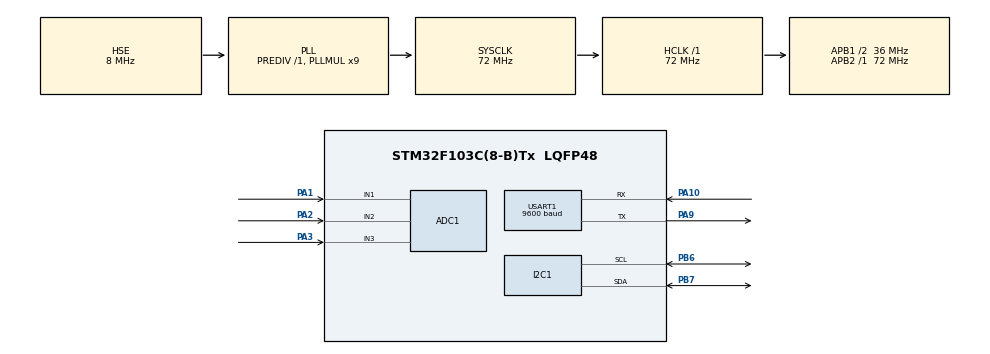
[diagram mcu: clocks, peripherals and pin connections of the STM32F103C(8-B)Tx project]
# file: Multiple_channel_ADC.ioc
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ADC1.Channel-0\#ChannelRegularConversion=ADC_CHANNEL_1
ADC1.Channel-1\#ChannelRegularConversion=ADC_CHANNEL_2
ADC1.Channel-2\#ChannelRegularConversion=ADC_CHANNEL_3
ADC1.ContinuousConvMode=ENABLE
ADC1.NbrOfConversion=3
ADC1.NbrOfConversionFlag=1
ADC1.Rank-0\#ChannelRegularConversion=1
ADC1.Rank-1\#ChannelRegularConversion=2
ADC1.Rank-2\#ChannelRegularConversion=3
ADC1.SamplingTime-0\#ChannelRegularConversion=ADC_SAMPLETIME_1CYCLE_5
ADC1.SamplingTime-1\#ChannelRegularConversion=ADC_SAMPLETIME_1CYCLE_5
ADC1.SamplingTime-2\#ChannelRegularConversion=ADC_SAMPLETIME_1CYCLE_5
ADC1.master=1
Dma.ADC1.0.Direction=DMA_PERIPH_TO_MEMORY
Dma.ADC1.0.Instance=DMA1_Channel1
Dma.ADC1.0.MemDataAlignment=DMA_MDATAALIGN_HALFWORD
Dma.ADC1.0.MemInc=DMA_MINC_ENABLE
Dma.ADC1.0.Mode=DMA_CIRCULAR
Dma.ADC1.0.PeriphDataAlignment=DMA_PDATAALIGN_HALFWORD
Dma.ADC1.0.PeriphInc=DMA_PINC_DISABLE
Dma.ADC1.0.Priority=DMA_PRIORITY_LOW
Dma.Request0=ADC1
I2C1.I2C_Mode=I2C_Fast
Mcu.Family=STM32F1
Mcu.Name=STM32F103C(8-B)Tx
Mcu.Package=LQFP48
NVIC.ADC1_2_IRQn=true\:0\:0\:false\:false\:true\:true\:true\:true
NVIC.DMA1_Channel1_IRQn=true\:0\:0\:false\:false\:true\:false\:true\:true
NVIC.PriorityGroup=NVIC_PRIORITYGROUP_4
NVIC.USART1_IRQn=true\:0\:0\:false\:false\:true\:true\:true\:true
PA1.Signal=ADCx_IN1
PA10.Mode=Asynchronous
PA10.Signal=USART1_RX
PA13.Mode=Serial_Wire
PA13.Signal=SYS_JTMS-SWDIO
PA14.Mode=Serial_Wire
PA14.Signal=SYS_JTCK-SWCLK
PA2.Signal=ADCx_IN2
PA3.Signal=ADCx_IN3
PA9.Mode=Asynchronous
PA9.Signal=USART1_TX
PB6.Mode=I2C
PB6.Signal=I2C1_SCL
PB7.Mode=I2C
PB7.Signal=I2C1_SDA
PD0-OSC_IN.Mode=HSE-External-Oscillator
PD0-OSC_IN.Signal=RCC_OSC_IN
PD1-OSC_OUT.Mode=HSE-External-Oscillator
PD1-OSC_OUT.Signal=RCC_OSC_OUT
ProjectManager.HeapSize=0x200
ProjectManager.StackSize=0x400
ProjectManager.TargetToolchain=STM32CubeIDE
RCC.ADCPresc=RCC_ADCPCLK2_DIV6
RCC.AHBFreq_Value=72000000
RCC.APB1CLKDivider=RCC_HCLK_DIV2
RCC.APB1Freq_Value=36000000
RCC.APB1TimFreq_Value=72000000
RCC.APB2Freq_Value=72000000
RCC.APB2TimFreq_Value=72000000
RCC.HCLKFreq_Value=72000000
RCC.PLLMUL=RCC_PLL_MUL9
RCC.PLLSourceVirtual=RCC_PLLSOURCE_HSE
RCC.SYSCLKFreq_VALUE=72000000
RCC.SYSCLKSource=RCC_SYSCLKSOURCE_PLLCLK
RCC.USBFreq_Value=72000000
SH.ADCx_IN1.0=ADC1_IN1,IN1
SH.ADCx_IN2.0=ADC1_IN2,IN2
SH.ADCx_IN3.0=ADC1_IN3,IN3
USART1.BaudRate=9600
USART1.VirtualMode=VM_ASYNC
board=custom

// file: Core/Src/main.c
/* USER CODE BEGIN Header */
/**
  ******************************************************************************
  * @file           : main.c
  * @brief          : Main program body
  ******************************************************************************
  * @attention
  *
  * Copyright (c) 2024 STMicroelectronics.
  * All rights reserved.
  *
  * This software is licensed under terms that can be found in the LICENSE file
  * in the root directory of this software component.
  * If no LICENSE file comes with this software, it is provided AS-IS.
  *
  ******************************************************************************
  */
/* USER CODE END Header */
#include "main.h"
#include <stdio.h>
/* USER CODE BEGIN Includes */
#include "ssd1306.h"
#include "fonts.h"
/* USER CODE END Includes */

ADC_HandleTypeDef hadc1;
DMA_HandleTypeDef hdma_adc1;

I2C_HandleTypeDef hi2c1;

UART_HandleTypeDef huart1;

/* USER CODE BEGIN PV */
uint16_t readvalue[3];
uint8_t VI,VD;
uint8_t CI,CD;
uint8_t TI,TD;
uint8_t PI,PD;
uint8_t rxdata;
char strCopy[20];
char strCurr[20];
char strTemp[20];
char powCopy[20];
double voltage;
double power = 0.0;
double sensitivity= 0.033;
double raw_current = 0.0;
double midvolt = 2.5;
double current = 0.0;
float R5 = 10000;
float logR6, R6, T;
float c1 = 0.001129148, c2 = 0.000234125, c3 = 0.0000000876741;

/* USER CODE END PV */

void SystemClock_Config(void);
static void MX_GPIO_Init(void);
static void MX_DMA_Init(void);
static void MX_ADC1_Init(void);
static void MX_I2C1_Init(void);
static void MX_USART1_UART_Init(void);

/* USER CODE BEGIN 0 */
void HAL_UART_RxCpltCallback(UART_HandleTypeDef *huart)
{
  if(huart->Instance==USART1)
  {
    HAL_UART_Receive_IT(&huart1,&rxdata,1); // Enabling interrupt receive again
  }
}

/* USER CODE END 0 */

int main(void)
{

  /* MCU Configuration--------------------------------------------------------*/

  /* Reset of all peripherals, Initializes the Flash interface and the Systick. */
	HAL_Init();

  /* Configure the system clock */
  SystemClock_Config();

  /* Initialize all configured peripherals */
  MX_GPIO_Init();
  MX_DMA_Init();
  MX_ADC1_Init();
  MX_I2C1_Init();
  MX_USART1_UART_Init();
  /* USER CODE BEGIN 2 */
SSD1306_Init();
HAL_ADC_Start_DMA(&hadc1, (uint32_t*)readvalue,3);
HAL_UART_Receive_IT(&huart1, &rxdata, 1);
SSD1306_GotoXY(40,8);
SSD1306_Puts("DATA",&Font_11x18,1);
SSD1306_GotoXY(25,40);
SSD1306_Puts("MONITOR",&Font_11x18,1);
SSD1306_UpdateScreen();
HAL_Delay(5000);
SSD1306_Clear();

  /* USER CODE END 2 */

  /* Infinite loop */
  /* USER CODE BEGIN WHILE */
  while (1)
  {
	  if(rxdata == 78){
	  VI = (int)voltage;
	  float fractionalPart= voltage - VI;
	  VD = (fractionalPart*100);
	  sprintf(strCopy,"%d.%02d" ,VI,VD);
	  SSD1306_GotoXY(0,0);
	  SSD1306_Puts("Voltage:-",&Font_7x10,1);
	  SSD1306_GotoXY(77,0);
	  SSD1306_Puts(strCopy,&Font_7x10,1);

	  TI= (int)T;
	  float FractionPart =  T - TI;
	  TD = (FractionPart*10);
	  sprintf(strTemp,"%d.%02d",TI,TD);
	  SSD1306_GotoXY(0,20);
	  SSD1306_Puts("Temp:-",&Font_7x10,1);
	  SSD1306_GotoXY(77,20);
	  SSD1306_Puts(strTemp,&Font_7x10,1);

	  SSD1306_UpdateScreen();
	  CI= (int)current;
	  float FractialPart =  current - CI;
	  CD = (FractialPart*100);
	  sprintf(strCurr,"%d.%02d C",CI,CD);
	  SSD1306_GotoXY(0,40);
	  SSD1306_Puts("Curr:-",&Font_7x10,1);
	  SSD1306_GotoXY(77,40);
	  SSD1306_Puts(strCurr,&Font_7x10,1);
	  SSD1306_UpdateScreen();
	  }
	  if(rxdata = 82){
		  power = voltage *current;
		  sprintf(powCopy,"%d.02",power);
		  SSD1306_GotoXY(0,0);
		  SSD1306_Puts("Power",&Font_7x10,1);
		  SSD1306_GotoXY(77,0);
		  SSD1306_Puts(powCopy,&Font_7x10,1);
		  SSD1306_GotoXY(0,20);
		  SSD1306_Puts("WH",&Font_7x10,1);
		  SSD1306_GotoXY(77,20);
		  SSD1306_Puts("0:00",&Font_7x10,1);
		  SSD1306_GotoXY(0,40);
		  SSD1306_Puts("AH",&Font_7x10,1);
		  SSD1306_GotoXY(77,40);
		  SSD1306_Puts("0:00",&Font_7x10,1);
	  }
  }
}
    /* USER CODE END WHILE */

    /* USER CODE BEGIN 3 */

  /* USER CODE END 3 *

void SystemClock_Config(void)
{
  RCC_OscInitTypeDef RCC_OscInitStruct = {0};
  RCC_ClkInitTypeDef RCC_ClkInitStruct = {0};
  RCC_PeriphCLKInitTypeDef PeriphClkInit = {0};

  /** Initializes the RCC Oscillators according to the specified parameters
  * in the RCC_OscInitTypeDef structure.
  */
  RCC_OscInitStruct.OscillatorType = RCC_OSCILLATORTYPE_HSE;
  RCC_OscInitStruct.HSEState = RCC_HSE_ON;
  RCC_OscInitStruct.HSEPredivValue = RCC_HSE_PREDIV_DIV1;
  RCC_OscInitStruct.HSIState = RCC_HSI_ON;
  RCC_OscInitStruct.PLL.PLLState = RCC_PLL_ON;
  RCC_OscInitStruct.PLL.PLLSource = RCC_PLLSOURCE_HSE;
  RCC_OscInitStruct.PLL.PLLMUL = RCC_PLL_MUL9;
  if (HAL_RCC_OscConfig(&RCC_OscInitStruct) != HAL_OK)
  {
    Error_Handler();
  }

  /** Initializes the CPU, AHB and APB buses clocks
  */
  RCC_ClkInitStruct.ClockType = RCC_CLOCKTYPE_HCLK|RCC_CLOCKTYPE_SYSCLK
                              |RCC_CLOCKTYPE_PCLK1|RCC_CLOCKTYPE_PCLK2;
  RCC_ClkInitStruct.SYSCLKSource = RCC_SYSCLKSOURCE_PLLCLK;
  RCC_ClkInitStruct.AHBCLKDivider = RCC_SYSCLK_DIV1;
  RCC_ClkInitStruct.APB1CLKDivider = RCC_HCLK_DIV2;
  RCC_ClkInitStruct.APB2CLKDivider = RCC_HCLK_DIV1;

  if (HAL_RCC_ClockConfig(&RCC_ClkInitStruct, FLASH_LATENCY_2) != HAL_OK)
  {
    Error_Handler();
  }
  PeriphClkInit.PeriphClockSelection = RCC_PERIPHCLK_ADC;
  PeriphClkInit.AdcClockSelection = RCC_ADCPCLK2_DIV6;
  if (HAL_RCCEx_PeriphCLKConfig(&PeriphClkInit) != HAL_OK)
  {
    Error_Handler();
  }
}

static void MX_ADC1_Init(void)
{

  ADC_ChannelConfTypeDef sConfig = {0};

  /** Common config
  */
  hadc1.Instance = ADC1;
  hadc1.Init.ScanConvMode = ADC_SCAN_ENABLE;
  hadc1.Init.ContinuousConvMode = ENABLE;
  hadc1.Init.DiscontinuousConvMode = DISABLE;
  hadc1.Init.ExternalTrigConv = ADC_SOFTWARE_START;
  hadc1.Init.DataAlign = ADC_DATAALIGN_RIGHT;
  hadc1.Init.NbrOfConversion = 3;
  if (HAL_ADC_Init(&hadc1) != HAL_OK)
  {
    Error_Handler();
  }

  /** Configure Regular Channel
  */
  sConfig.Channel = ADC_CHANNEL_1;
  sConfig.Rank = ADC_REGULAR_RANK_1;
  sConfig.SamplingTime = ADC_SAMPLETIME_1CYCLE_5;
  if (HAL_ADC_ConfigChannel(&hadc1, &sConfig) != HAL_OK)
  {
    Error_Handler();
  }

  /** Configure Regular Channel
  */
  sConfig.Channel = ADC_CHANNEL_2;
  sConfig.Rank = ADC_REGULAR_RANK_2;
  if (HAL_ADC_ConfigChannel(&hadc1, &sConfig) != HAL_OK)
  {
    Error_Handler();
  }

  /** Configure Regular Channel
  */
  sConfig.Channel = ADC_CHANNEL_3;
  sConfig.Rank = ADC_REGULAR_RANK_3;
  if (HAL_ADC_ConfigChannel(&hadc1, &sConfig) != HAL_OK)
  {
    Error_Handler();
  }

}

static void MX_I2C1_Init(void)
{

  hi2c1.Instance = I2C1;
  hi2c1.Init.ClockSpeed = 400000;
  hi2c1.Init.DutyCycle = I2C_DUTYCYCLE_2;
  hi2c1.Init.OwnAddress1 = 0;
  hi2c1.Init.AddressingMode = I2C_ADDRESSINGMODE_7BIT;
  hi2c1.Init.DualAddressMode = I2C_DUALADDRESS_DISABLE;
  hi2c1.Init.OwnAddress2 = 0;
  hi2c1.Init.GeneralCallMode = I2C_GENERALCALL_DISABLE;
  hi2c1.Init.NoStretchMode = I2C_NOSTRETCH_DISABLE;
  if (HAL_I2C_Init(&hi2c1) != HAL_OK)
  {
    Error_Handler();
  }

}

static void MX_USART1_UART_Init(void)
{

  huart1.Instance = USART1;
  huart1.Init.BaudRate = 9600;
  huart1.Init.WordLength = UART_WORDLENGTH_8B;
  huart1.Init.StopBits = UART_STOPBITS_1;
  huart1.Init.Parity = UART_PARITY_NONE;
  huart1.Init.Mode = UART_MODE_TX_RX;
  huart1.Init.HwFlowCtl = UART_HWCONTROL_NONE;
  huart1.Init.OverSampling = UART_OVERSAMPLING_16;
  if (HAL_UART_Init(&huart1) != HAL_OK)
  {
    Error_Handler();
  }

}

static void MX_DMA_Init(void)
{

  /* DMA controller clock enable */
  __HAL_RCC_DMA1_CLK_ENABLE();

  /* DMA interrupt init */
  /* DMA1_Channel1_IRQn interrupt configuration */
  HAL_NVIC_SetPriority(DMA1_Channel1_IRQn, 0, 0);
  HAL_NVIC_EnableIRQ(DMA1_Channel1_IRQn);

}

static void MX_GPIO_Init(void)
{

  /* GPIO Ports Clock Enable */
  __HAL_RCC_GPIOD_CLK_ENABLE();
  __HAL_RCC_GPIOA_CLK_ENABLE();
  __HAL_RCC_GPIOB_CLK_ENABLE();

}

/* USER CODE BEGIN 4 */
void HAL_ADC_ConvCpltCallback(ADC_HandleTypeDef* hadc)
{
	HAL_ADC_Stop_DMA(&hadc1);
	voltage = ((double)readvalue[0]/4095)*36.3;
//	VI = (int)voltage;
//	float fractionalPart= voltage - VI;
//	VD = (fractionalPart*100);
//	sprintf(strCopy,"%d.%02d V" ,VI,VD);
	raw_current = (double)readvalue[1]*3.3*2/4095*1.908;
	current = (raw_current - midvolt)/sensitivity;
//	CI= (int)current;
//	float FractionalPart =  current - VI;
//	CD = (FractionalPart*100);
//	sprintf(strCurr,"%d.%02d C",CI,CD);
	R6 = R5 * (4096.0 / (float)readvalue[2] - 1.0);
	logR6 = log(R6);
	T = (1.0 / (c1 + c2 * logR6 + c3 * logR6 * logR6 * logR6));
	T = T - 273.15;
//	TI= (int)T;
//	float FractionPart =  T - TI;
//	TD = (FractionPart*1000);
//	sprintf(strTemp,"%d.%02d C",TI,TD);
//	power = voltage * current;
	HAL_ADC_Start_DMA(&hadc1, (uint32_t*)readvalue,3);

}

/* USER CODE END 4 */

void Error_Handler(void)
{
  __disable_irq();
  while (1)
  {
  }
}
